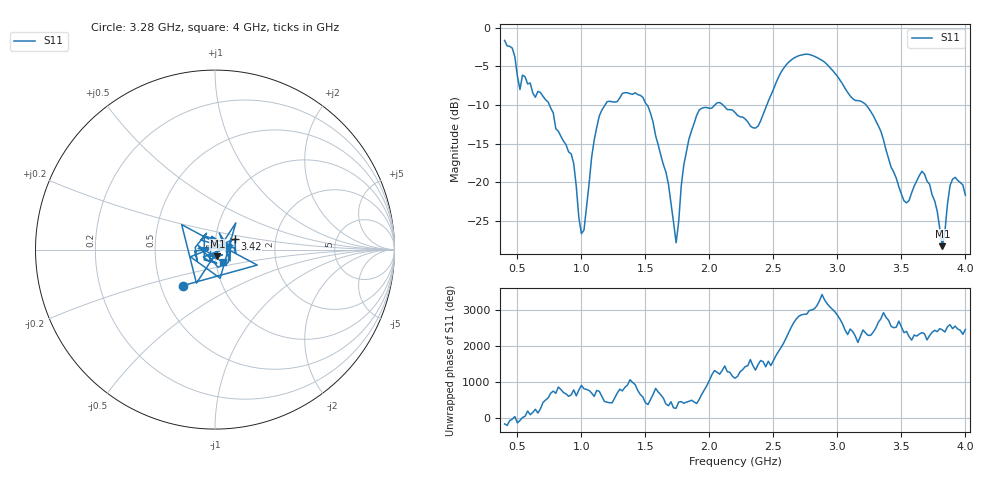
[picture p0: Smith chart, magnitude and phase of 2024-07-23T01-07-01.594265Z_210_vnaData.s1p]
!Created with skrf (http://scikit-rf.org).
# Hz S RI R 50.0
!freq ReS11 ImS11
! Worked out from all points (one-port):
!   181 points, 400 MHz to 4 GHz, reference 50 ohm
!   lowest |S11| = -28.2 dB at 3.82 GHz (marker M1), VSWR 1.08, Z = 51.2 - j3.74 ohm
!   |S11| at or under -10 dB: 750 MHz to 1.185 GHz (435 MHz wide, 45 % of centre); 1.513 GHz to 2.042 GHz (529.5 MHz wide, 29.8 % of centre); 3.224 GHz to end of sweep (the widest 3 of 4)
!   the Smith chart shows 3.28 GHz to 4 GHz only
!   S11 on the Smith chart (normalised r, x): 3.28 GHz: 0.65, -0.28; 3.42 GHz: 1.24, +0.15; 4 GHz: 1.08, -0.15
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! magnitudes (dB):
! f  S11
! 400 MHz  -1.7
! 460 MHz  -2.7
! 520 MHz  -8.0
! 540 MHz  -6.1
! 680 MHz  -8.4
! 860 MHz  -14.7
! 940 MHz  -17.6
! 1 GHz  -26.6
! 1.14 GHz  -11.4
! 1.3 GHz  -9.1
! 1.52 GHz  -10.2
! 1.68 GHz  -20.2
! 1.74 GHz  -27.8
! 1.76 GHz  -25.1
! 1.8 GHz  -17.7
! 1.92 GHz  -10.7
! 2.2 GHz  -11.0
! 2.38 GHz  -12.7
! 2.66 GHz  -3.9
! 2.88 GHz  -4.2
! 3.1 GHz  -8.8
! 3.28 GHz  -11.4
! 3.42 GHz  -18.1
! 3.56 GHz  -22.3
! 3.68 GHz  -18.9
! 3.82 GHz  -28.2
! 3.9 GHz  -19.6
! 4 GHz  -21.6
